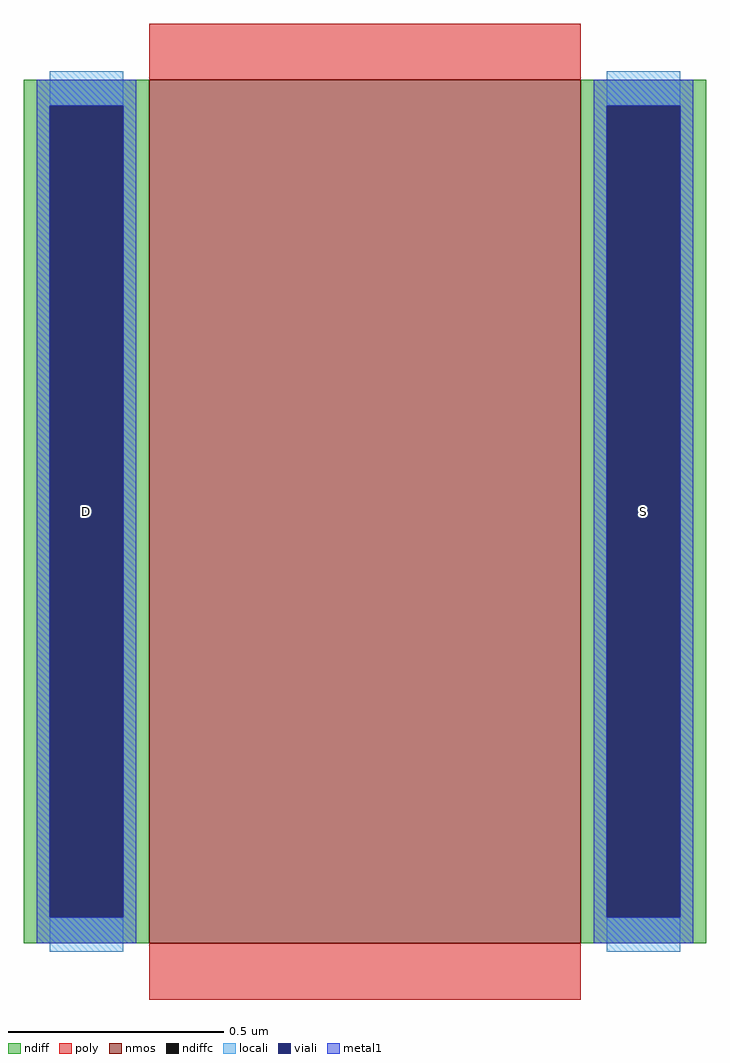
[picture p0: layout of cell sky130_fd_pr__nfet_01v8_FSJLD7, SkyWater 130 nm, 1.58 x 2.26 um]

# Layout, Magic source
magic
tech sky130A
magscale 1 2
<< nmos >>
rect -100 -200 100 200
<< ndiff >>
rect -158 188 -100 200
rect -158 -188 -146 188
rect -112 -188 -100 188
rect -158 -200 -100 -188
rect 100 188 158 200
rect 100 -188 112 188
rect 146 -188 158 188
rect 100 -200 158 -188
<< ndiffc >>
rect -146 -188 -112 188
rect 112 -188 146 188
<< poly >>
rect -100 200 100 226
rect -100 -226 100 -200
<< locali >>
rect -146 188 -112 204
rect -146 -204 -112 -188
rect 112 188 146 204
rect 112 -204 146 -188
<< viali >>
rect -146 -188 -112 188
rect 112 -188 146 188
<< metal1 >>
rect -152 188 -106 200
rect -152 -188 -146 188
rect -112 -188 -106 188
rect -152 -200 -106 -188
rect 106 188 152 200
rect 106 -188 112 188
rect 146 -188 152 188
rect 106 -200 152 -188
<< labels >>
rlabel ndiffc -129 0 -129 0 0 D
port 1 nsew
rlabel ndiffc 129 0 129 0 0 S
port 2 nsew
<< properties >>
string gencell sky130_fd_pr__nfet_01v8
string library sky130
string parameters w 2 l 1 m 1 nf 1 diffcov 100 polycov 100 guard 0 glc 0 grc 0 gtc 0 gbc 0 tbcov 100 rlcov 100 topc 0 botc 0 poverlap 0 doverlap 1 lmin 0.15 wmin 0.42 class mosfet compatible {sky130_fd_pr__nfet_01v8 sky130_fd_pr__nfet_01v8_lvt  sky130_fd_bs_flash__special_sonosfet_star  sky130_fd_pr__nfet_g5v0d10v5 sky130_fd_pr__nfet_05v0_nvt  sky130_fd_pr__nfet_03v3_nvt} full_metal 0 conn_gates 0 viasrc 100 viadrn 100 viagate 100 viagb 0 viagr 0 viagl 0 viagt 0 doports 1
<< end >>
